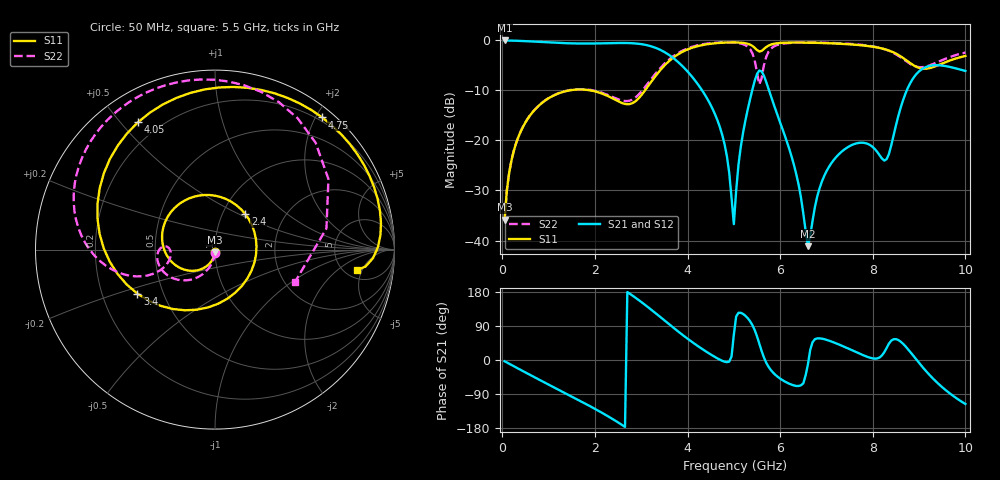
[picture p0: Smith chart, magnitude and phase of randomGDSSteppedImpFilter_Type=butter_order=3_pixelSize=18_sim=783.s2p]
! freq	dB(S11)	phase(S11)	dB(S12)	phase(S12)
!  dB(S21)	phase(S21)	dB(S22)	phase(S22)
!S-par simulation data
#  GHz  S  DB  R 50
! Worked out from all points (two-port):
!   200 points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, 50 MHz to 10 GHz, reference 50 ohm
!   highest |S21| = -0.01 dB at 50 MHz (marker M1); lowest = -41.1 dB at 6.6 GHz (marker M2)
!   |S21| within 3 dB of the highest: start of sweep to 3.617 GHz
!   lowest |S11| = -35.8 dB at 50 MHz (marker M3), VSWR 1.03, Z = 49.9 - j1.61 ohm
!   |S11| at or under -10 dB: start of sweep to 1.445 GHz; 1.91 GHz to 3.081 GHz (1.171 GHz wide, 46.9 % of centre)
!   |S22| runs from -35.8 to -0.4 dB; largest |S21 - S12| = 0
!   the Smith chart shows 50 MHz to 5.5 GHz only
!   S11 on the Smith chart (normalised r, x): 50 MHz: 1.00, -0.03; 2.4 GHz: 1.27, +0.54; 3.4 GHz: 0.36, -0.23; 4.05 GHz: 0.12, +0.56; 4.75 GHz: 0.14, +2.09; 5.5 GHz: 6.44, -4.09
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0.05  -35.83 -91.8  -0.01 -3.3  -0.01 -3.3  -35.81 -90.4
0.5  -16.39 -130.4  -0.15 -32.9  -0.15 -32.9  -16.36 -116.5
1.75  -9.82 125.9  -0.63 -112.4  -0.63 -112.4  -9.75 -171.4
2.4  -11.69 49.7  -0.54 -157.1  -0.54 -157.1  -11.39 176.4
2.9  -11.98 -53.4  -0.63 162.2  -0.63 162.2  -11.23 -164.2
3.4  -6.07 -150.5  -1.84 114.6  -1.84 114.6  -5.65 -164.5
4.05  -1.63 121.2  -6.73 51.7  -6.73 51.7  -1.43 158.1
4.75  -0.46 50.9  -18.91 -2.2  -18.91 -2.2  -0.40 113.4
5  -0.40 29.7  -36.73 66.8  -36.73 66.8  -0.44 94.6
5.05  -0.41 25.6  -30.04 114.8  -30.04 114.8  -0.48 90.2
5.3  -0.68 4.9  -13.81 110.4  -13.81 110.4  -1.27 57.8
5.5  -1.92 -8.1  -6.72 62.7  -6.72 62.7  -6.36 -22.2
5.6  -2.10 -6.7  -6.19 23.8  -6.19 23.8  -7.56 -140.0
5.7  -1.32 -9.9  -8.33 -7.2  -8.33 -7.2  -3.26 156.6
6  -0.51 -30.6  -16.41 -49.1  -16.41 -49.1  -0.75 99.7
6.6  -0.45 -66.9  -41.13 -11.5  -41.13 -11.5  -0.43 56.1
6.7  -0.47 -72.6  -36.04 46.9  -36.04 46.9  -0.43 50.1
7.65  -0.89 -130.3  -20.58 20.4  -20.58 20.4  -0.79 -10.3
8.35  -2.03 164.0  -22.66 43.3  -22.66 43.3  -2.08 -83.0
8.85  -4.80 79.7  -7.88 15.1  -7.88 15.1  -4.91 179.0
9.35  -5.18 -8.8  -4.96 -55.0  -4.96 -55.0  -4.54 88.6
10  -3.11 -77.3  -6.10 -116.2  -6.10 -116.2  -2.44 27.2
